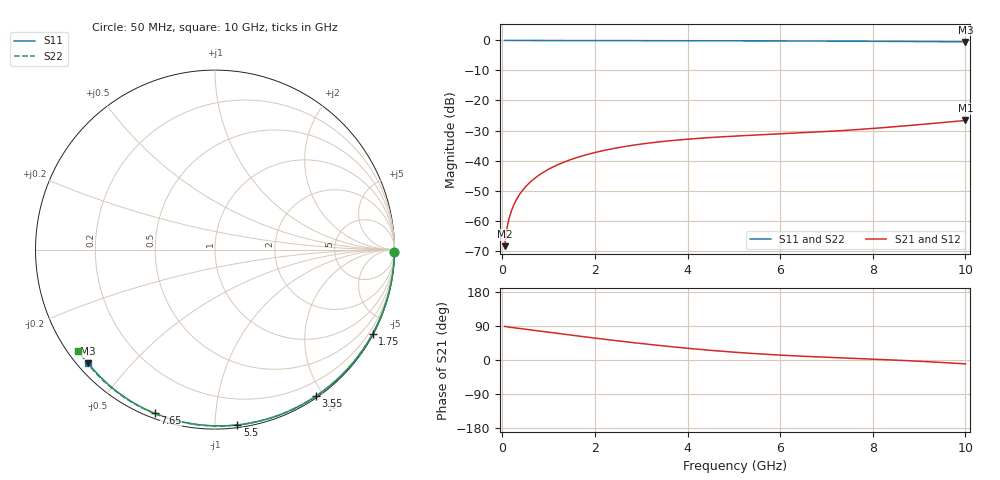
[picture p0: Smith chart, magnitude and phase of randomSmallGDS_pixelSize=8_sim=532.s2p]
! freq	dB(S11)	phase(S11)	dB(S12)	phase(S12)
!  dB(S21)	phase(S21)	dB(S22)	phase(S22)
!S-par simulation data
#  GHz  S  DB  R 50
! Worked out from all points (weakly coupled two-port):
!   200 points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, 50 MHz to 10 GHz, reference 50 ohm
!   highest |S21| = -26.65 dB at 10 GHz (marker M1); lowest = -68.5 dB at 50 MHz (marker M2)
!   lowest |S11| = -0.5 dB at 10 GHz (marker M3), VSWR 37.80, Z = 1.52 - j19.1 ohm
!   |S11| at or under -10 dB: nowhere
!   |S22| runs from -0.5 to 0.0 dB; largest |S21 - S12| = 0
!   S11 on the Smith chart (normalised r, x): 50 MHz: open; 1.75 GHz: 0.04, -4.01; 3.55 GHz: 0.02, -1.90; 5.5 GHz: 0.02, -1.14; 7.65 GHz: 0.02, -0.70; 10 GHz: 0.03, -0.38
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0.05  -0.00 -0.8  -68.52 88.7  -68.52 88.7  -0.00 -0.9
0.1  -0.00 -1.6  -62.55 87.6  -62.55 87.6  -0.00 -1.7
0.15  -0.00 -2.4  -59.08 86.7  -59.08 86.7  -0.00 -2.5
0.2  -0.00 -3.3  -56.62 85.8  -56.62 85.8  -0.00 -3.4
0.25  -0.00 -4.1  -54.72 85.1  -54.72 85.1  -0.00 -4.2
0.35  -0.00 -5.7  -51.84 83.5  -51.84 83.5  -0.00 -5.9
0.5  -0.01 -8.1  -48.78 81.2  -48.78 81.2  -0.01 -8.5
0.7  -0.01 -11.3  -45.91 78.1  -45.91 78.1  -0.01 -11.8
1  -0.02 -16.2  -42.90 73.3  -42.90 73.3  -0.02 -16.8
1.35  -0.03 -21.7  -40.42 67.8  -40.42 67.8  -0.03 -22.6
1.75  -0.04 -28.0  -38.35 61.6  -38.35 61.6  -0.04 -29.2
2.5  -0.05 -39.7  -35.71 50.4  -35.71 50.4  -0.05 -41.3
3.4  -0.07 -53.2  -33.75 38.2  -33.75 38.2  -0.07 -55.3
3.55  -0.08 -55.4  -33.51 36.3  -33.51 36.3  -0.08 -57.6
4.3  -0.09 -66.2  -32.53 27.6  -32.53 27.6  -0.10 -68.8
5.05  -0.12 -76.6  -31.84 20.3  -31.84 20.3  -0.12 -79.6
5.5  -0.13 -82.7  -31.49 16.5  -31.49 16.5  -0.14 -85.9
6.7  -0.19 -98.4  -30.60 8.8  -30.60 8.8  -0.20 -102.1
7.65  -0.25 -110.2  -29.70 4.0  -29.70 4.0  -0.26 -114.3
8.35  -0.30 -118.6  -28.89 0.5  -28.89 0.5  -0.31 -123.1
9.2  -0.38 -128.7  -27.77 -4.6  -27.77 -4.6  -0.39 -133.6
10  -0.46 -138.1  -26.65 -10.2  -26.65 -10.2  -0.48 -143.5
